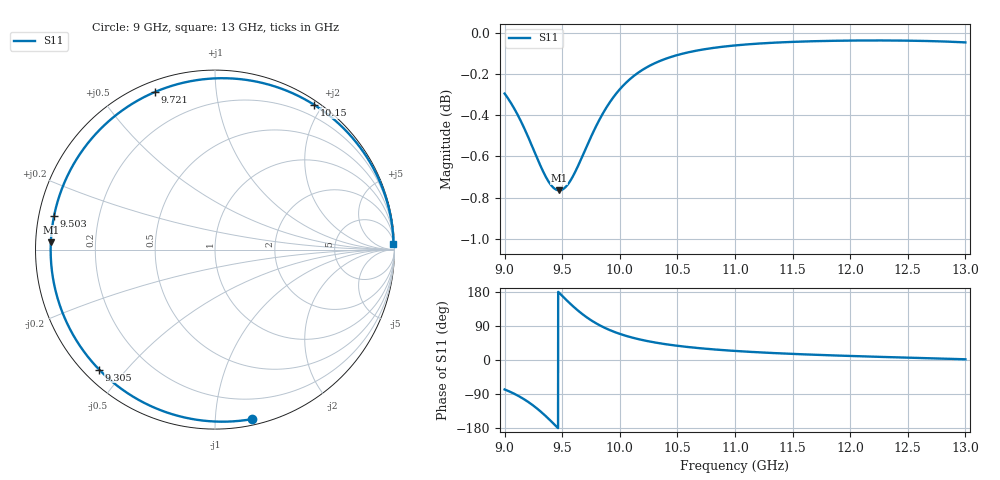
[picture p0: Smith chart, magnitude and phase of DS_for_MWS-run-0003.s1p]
! TOUCHSTONE file generated by CST DESIGN STUDIO
! Date and time: Tue Feb  4 13:32:30 2025
! Project name: C:\Work\MatlabApps\UnitCellOptimizationMatlab\CST\unitcell.cst
! Tree item: Tasks\Sweep1\SPara1\S-Parameters
! Header version: 2024
! Port assignment regex: !\s*Touchstone port\s*([0-9]+)\s*=\s*(CST MWS port|CST DES external port|CST DES block port)\s*(.+)\s* \(\"(.*)\"\)(\s*mode\s*([0-9]+))?.*
! Touchstone port assignment:
! Touchstone port 1 = CST DES external port 1 ("")
# GHz S MA R 50
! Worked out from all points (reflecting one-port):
!   4001 points, 9 GHz to 13 GHz, reference 50 ohm
!   lowest |S11| = -0.8 dB at 9.473 GHz (marker M1), VSWR 22.72, Z = 2.2 + j1.13 ohm
!   phase of S11 starts at -78 deg and turns -280 deg over the sweep
!   S11 on the Smith chart (normalised r, x): 9 GHz: 0.04, -1.24; 9.305 GHz: 0.04, -0.42; 9.503 GHz: 0.04, +0.10; 9.721 GHz: 0.05, +0.69; 10.15 GHz: 0.05, +1.90; 13 GHz: 9, +59
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9  0.9667 -77.7
9.076  0.9594 -87.9
9.173  0.9477 -104.3
9.241  0.9382 -118.5
9.305  0.9292 -134.0
9.349  0.9236 -145.8
9.396  0.9189 -159.3
9.435  0.9165 -171.0
9.473  0.9157 177.4
9.5  0.9161 169.2
9.503  0.9162 168.3
9.555  0.9192 152.8
9.615  0.9255 136.1
9.667  0.9322 123.0
9.721  0.9396 110.9
9.776  0.9469 100.1
9.838  0.9543 89.6
9.917  0.9623 78.5
10  0.969 68.9
10.155  0.9778 55.5
10.311  0.9834 45.9
10.5  0.9877 37.5
10.722  0.9908 30.4
11  0.993 23.9
11.5  0.995 16.1
12  0.9957 10.6
12.5  0.9957 6.2
13  0.9947 1.9
